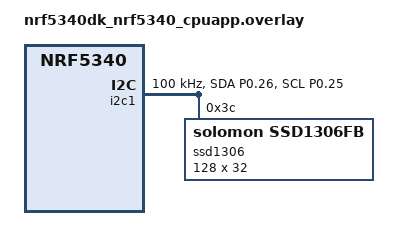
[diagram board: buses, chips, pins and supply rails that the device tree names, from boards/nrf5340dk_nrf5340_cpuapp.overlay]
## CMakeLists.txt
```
cmake_minimum_required(VERSION 3.20.0)

find_package(Zephyr REQUIRED HINTS $ENV{ZEPHYR_BASE})
project(secure_sensor_node)

target_sources(app PRIVATE src/main.c)
```

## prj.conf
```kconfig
CONFIG_BT=y
CONFIG_BT_PERIPHERAL=y
CONFIG_BT_DEVICE_NAME="SecureSensorNode"

CONFIG_I2C=y
CONFIG_DISPLAY=y
CONFIG_SSD1306=y

CONFIG_GPIO=y
CONFIG_LOG=y

CONFIG_FLASH=y
CONFIG_FLASH_MAP=y
CONFIG_NVS=y
CONFIG_MPU_ALLOW_FLASH_WRITE=y
```

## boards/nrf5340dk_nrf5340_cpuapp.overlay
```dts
#include <zephyr/dt-bindings/pinctrl/nrf-pinctrl.h>

&pinctrl {
	i2c1_default: i2c1_default {
		group1 {
			psels = <NRF_PSEL(TWIM_SDA, 0, 26)>,
				<NRF_PSEL(TWIM_SCL, 0, 25)>;
		};
	};

	i2c1_sleep: i2c1_sleep {
		group1 {
			psels = <NRF_PSEL(TWIM_SDA, 0, 26)>,
				<NRF_PSEL(TWIM_SCL, 0, 25)>;
			low-power-enable;
		};
	};
};

&i2c1 {
	compatible = "nordic,nrf-twim";
	status = "okay";
	pinctrl-0 = <&i2c1_default>;
	pinctrl-1 = <&i2c1_sleep>;
	pinctrl-names = "default", "sleep";
	clock-frequency = <I2C_BITRATE_STANDARD>;
	zephyr,concat-buf-size = <600>;

	ssd1306: ssd1306@3c {
		compatible = "solomon,ssd1306fb";
		reg = <0x3c>;
		width = <128>;
		height = <32>;

		segment-remap;
		com-invdir;

		segment-offset = <0>;
		page-offset = <0>;
		display-offset = <0>;
		multiplex-ratio = <31>;
		prechargep = <0x22>;
	};
};
```

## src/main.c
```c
#include <zephyr/kernel.h>
#include <zephyr/sys/printk.h>
#include <zephyr/sys/byteorder.h>
#include <zephyr/logging/log.h>

#include <zephyr/bluetooth/bluetooth.h>
#include <zephyr/bluetooth/gatt.h>

#include <zephyr/device.h>
#include <zephyr/drivers/display.h>
#include <zephyr/drivers/gpio.h>

#include <zephyr/storage/flash_map.h>
#include <zephyr/fs/nvs.h>

#include <string.h>
#include <stdint.h>

LOG_MODULE_REGISTER(ssn, LOG_LEVEL_INF);

static uint32_t heartbeat_count;
static uint32_t tamper_count;
static bool notify_enabled;
static int64_t last_press_time;

static const struct device *display_dev;

/* NVS / flash storage */
static struct nvs_fs fs;

/* NVS IDs */
#define NVS_ID_TAMPER_COUNT 1

/* 128-bit UUIDs */
#define BT_UUID_SSN_SERVICE_VAL   BT_UUID_128_ENCODE(0x12345678,0x1234,0x5678,0x1234,0x56789abcdef0)
#define BT_UUID_SSN_HEARTBEAT_VAL BT_UUID_128_ENCODE(0x12345678,0x1234,0x5678,0x1234,0x56789abcdef1)

static struct bt_uuid_128 ssn_service_uuid   = BT_UUID_INIT_128(BT_UUID_SSN_SERVICE_VAL);
static struct bt_uuid_128 ssn_heartbeat_uuid = BT_UUID_INIT_128(BT_UUID_SSN_HEARTBEAT_VAL);

/* Button */
#define SW0_NODE DT_ALIAS(sw0)

#if !DT_NODE_HAS_STATUS(SW0_NODE, okay)
#error "sw0 alias is not defined in the devicetree"
#endif

static const struct gpio_dt_spec button = GPIO_DT_SPEC_GET(SW0_NODE, gpios);
static struct gpio_callback button_cb_data;

static void ccc_cfg_changed(const struct bt_gatt_attr *attr, uint16_t value)
{
	notify_enabled = (value == BT_GATT_CCC_NOTIFY);
}

static ssize_t read_heartbeat(struct bt_conn *conn,
			      const struct bt_gatt_attr *attr,
			      void *buf,
			      uint16_t len,
			      uint16_t offset)
{
	uint32_t v_le = sys_cpu_to_le32(heartbeat_count);
	return bt_gatt_attr_read(conn, attr, buf, len, offset, &v_le, sizeof(v_le));
}

BT_GATT_SERVICE_DEFINE(ssn_svc,
	BT_GATT_PRIMARY_SERVICE(&ssn_service_uuid),
	BT_GATT_CHARACTERISTIC(&ssn_heartbeat_uuid.uuid,
			       BT_GATT_CHRC_READ | BT_GATT_CHRC_NOTIFY,
			       BT_GATT_PERM_READ,
			       read_heartbeat,
			       NULL,
			       NULL),
	BT_GATT_CCC(ccc_cfg_changed,
		    BT_GATT_PERM_READ | BT_GATT_PERM_WRITE)
);

static const struct bt_data ad[] = {
	BT_DATA_BYTES(BT_DATA_FLAGS, (BT_LE_AD_GENERAL | BT_LE_AD_NO_BREDR)),
	BT_DATA_BYTES(BT_DATA_UUID128_ALL, BT_UUID_SSN_SERVICE_VAL),
};

static const struct bt_data sd[] = {
	BT_DATA(BT_DATA_NAME_COMPLETE,
		CONFIG_BT_DEVICE_NAME,
		sizeof(CONFIG_BT_DEVICE_NAME) - 1),
};

static int start_advertising(void)
{
	return bt_le_adv_start(BT_LE_ADV_CONN_FAST_1,
			       ad, ARRAY_SIZE(ad),
			       sd, ARRAY_SIZE(sd));
}

static void connected(struct bt_conn *conn, uint8_t err)
{
	ARG_UNUSED(conn);

	if (!err) {
		LOG_INF("Connected");
	}
}

static void disconnected(struct bt_conn *conn, uint8_t reason)
{
	ARG_UNUSED(conn);
	ARG_UNUSED(reason);

	notify_enabled = false;
	start_advertising();
}

BT_CONN_CB_DEFINE(conn_callbacks) = {
	.connected = connected,
	.disconnected = disconnected,
};

static void oled_update(uint32_t hb, uint32_t tamper)
{
	ARG_UNUSED(hb);
	ARG_UNUSED(tamper);

	if (!device_is_ready(display_dev)) {
		return;
	}

	static uint8_t buf[128 * 4];
	memset(buf, 0x00, sizeof(buf));

	struct display_buffer_descriptor desc = {
		.buf_size = sizeof(buf),
		.width = 128,
		.height = 32,
		.pitch = 128,
	};

	int err = display_write(display_dev, 0, 0, &desc, buf);
	if (err) {
		LOG_ERR("display_write failed (%d)", err);
	}
}

static int storage_init(void)
{
	int err;
	const struct flash_area *fa;

	err = flash_area_open(FIXED_PARTITION_ID(storage_partition), &fa);
	if (err) {
		LOG_ERR("flash_area_open failed (%d)", err);
		return err;
	}

	fs.flash_device = fa->fa_dev;
	fs.offset = fa->fa_off;
	fs.sector_size = 4096;
	fs.sector_count = 3;

	err = nvs_mount(&fs);
	if (err) {
		LOG_ERR("nvs_mount failed (%d)", err);
		return err;
	}

	LOG_INF("NVS mounted");
	return 0;
}

static void storage_load_tamper_count(void)
{
	int rc;
	uint32_t stored_count = 0;

	rc = nvs_read(&fs, NVS_ID_TAMPER_COUNT, &stored_count, sizeof(stored_count));
	if (rc > 0) {
		tamper_count = stored_count;
		LOG_INF("Loaded tamper_count=%u from flash", tamper_count);
		printk("[UART] Loaded tamper_count=%u from flash\n", tamper_count);
	} else {
		tamper_count = 0;
		LOG_INF("No saved tamper_count found, starting at 0");
		printk("[UART] No saved tamper_count found, starting at 0\n");
	}
}

static void storage_save_tamper_count(void)
{
	int rc;

	rc = nvs_write(&fs, NVS_ID_TAMPER_COUNT, &tamper_count, sizeof(tamper_count));
	if (rc < 0) {
		LOG_ERR("Failed to save tamper_count (%d)", rc);
		printk("[UART] Failed to save tamper_count (%d)\n", rc);
		return;
	}

	LOG_INF("Saved tamper_count=%u to flash", tamper_count);
	printk("[UART] Saved tamper_count=%u to flash\n", tamper_count);
}

static void button_pressed(const struct device *dev,
			   struct gpio_callback *cb,
			   uint32_t pins)
{
	ARG_UNUSED(dev);
	ARG_UNUSED(cb);
	ARG_UNUSED(pins);

	int64_t now = k_uptime_get();

	if (now - last_press_time < 200) {
		return;
	}

	last_press_time = now;
	tamper_count++;

	printk("[UART] Tamper event! count=%u\n", tamper_count);

	storage_save_tamper_count();
}

static int button_init(void)
{
	int err;

	if (!gpio_is_ready_dt(&button)) {
		return -ENODEV;
	}

	err = gpio_pin_configure_dt(&button, GPIO_INPUT);
	if (err) {
		return err;
	}

	err = gpio_pin_interrupt_configure_dt(&button, GPIO_INT_EDGE_TO_ACTIVE);
	if (err) {
		return err;
	}

	gpio_init_callback(&button_cb_data, button_pressed, BIT(button.pin));
	gpio_add_callback(button.port, &button_cb_data);

	return 0;
}

void main(void)
{
	int err;

	printk("[UART] BOOT: secure_sensor_node\n");

	display_dev = DEVICE_DT_GET_ANY(solomon_ssd1306fb);
	if (device_is_ready(display_dev)) {
		display_blanking_off(display_dev);
	}

	err = storage_init();
	if (err) {
		printk("[UART] Storage init failed\n");
	} else {
		storage_load_tamper_count();
	}

	err = bt_enable(NULL);
	if (err) {
		printk("Bluetooth init failed\n");
		return;
	}

	err = start_advertising();
	if (err) {
		printk("Advertising start failed\n");
		return;
	}

	err = button_init();
	if (err) {
		printk("Button init failed\n");
	}

	while (1) {
		printk("[UART] Heartbeat %u | Tamper %u\n",
		       heartbeat_count,
		       tamper_count);

		oled_update(heartbeat_count, tamper_count);

		if (notify_enabled) {
			uint32_t v_le = sys_cpu_to_le32(heartbeat_count);

			bt_gatt_notify(NULL,
				       &ssn_svc.attrs[2],
				       &v_le,
				       sizeof(v_le));
		}

		heartbeat_count++;
		k_sleep(K_SECONDS(1));
	}
}
```
